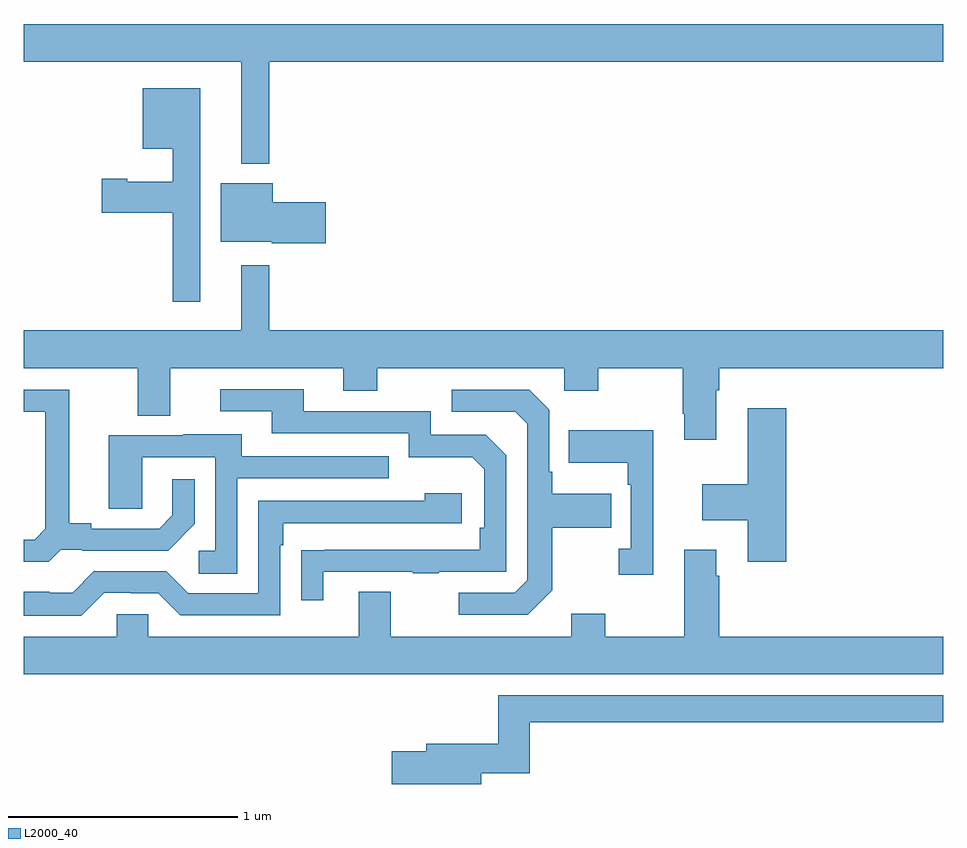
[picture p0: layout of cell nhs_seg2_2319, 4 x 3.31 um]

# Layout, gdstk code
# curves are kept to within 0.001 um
import gdstk
lib = gdstk.Library(unit=1e-6, precision=1e-09)
def P(c, l, *ps):  # polygons
    for p in ps: c.add(gdstk.Polygon(p, *l))
L2000_40 = (2000, 40)

nhs_seg2_2319 = lib.new_cell('nhs_seg2_2319')
P(nhs_seg2_2319, L2000_40, [(232.069,660.956),(235,660.956),(235,661.12),(231,661.12),(231,660.956),(231.947,660.956),(231.947,660.512),(232.069,660.512)],
  [(231.769,660.841),(231.518,660.841),(231.518,660.578),(231.648,660.578),(231.648,660.433),(231.451,660.433),(231.451,660.446),(231.339,660.446),(231.339,660.299),(231.648,660.299),(231.648,659.913),(231.769,659.913)],
  [(232.315,660.344),(232.084,660.344),(232.084,660.427),(231.857,660.427),(231.857,660.173),(232.08,660.173),(232.08,660.166),(232.315,660.166)],
  [(234.013,659.528),(234.026,659.528),(234.026,659.624),(235,659.624),(235,659.788),(232.069,659.788),(232.069,660.07),(231.947,660.07),(231.947,659.788),(231,659.788),(231,659.624),(231.497,659.624),(231.497,659.416),(231.637,659.416),(231.637,659.624),(232.391,659.624),(232.391,659.525),(232.539,659.525),(232.539,659.624),(233.352,659.624),(233.352,659.525),(233.499,659.525),(233.499,659.624),(233.866,659.624),(233.866,659.425),(233.873,659.425),(233.873,659.313),(234.013,659.313)],
  [(232.303,658.737),(232.693,658.737),(232.693,658.732),(232.805,658.732),(232.805,658.737),(233.1,658.737),(233.1,659.244),(233.01,659.334),(232.77,659.334),(232.77,659.436),(232.219,659.436),(232.219,659.532),(231.855,659.532),(231.855,659.436),(232.079,659.436),(232.079,659.34),(232.674,659.34),(232.674,659.237),(232.951,659.237),(233.004,659.184),(233.004,658.93),(232.984,658.93),(232.984,658.833),(232.207,658.832),(232.207,658.614),(232.303,658.614)],
  [(233.299,658.657),(233.299,658.93),(233.555,658.93),(233.555,659.077),(233.299,659.077),(233.299,659.173),(233.286,659.173),(233.286,659.442),(233.199,659.529),(232.863,659.529),(232.863,659.433),(233.139,659.433),(233.19,659.382),(233.19,658.701),(233.136,658.647),(232.893,658.647),(232.893,658.551),(233.193,658.551)],
  [(231.162,658.833),(231.256,658.833),(231.256,658.83),(231.628,658.83),(231.744,658.946),(231.744,659.14),(231.647,659.14),(231.647,658.983),(231.59,658.926),(231.295,658.926),(231.295,658.949),(231.199,658.949),(231.199,659.529),(231,659.529),(231,659.433),(231.095,659.433),(231.095,658.925),(231.048,658.878),(231,658.878),(231,658.781),(231.11,658.781)],
  [(234.317,659.449),(234.149,659.449),(234.149,659.119),(233.952,659.119),(233.952,658.961),(234.149,658.961),(234.149,658.782),(234.317,658.782)],
  [(233.738,659.353),(233.371,659.353),(233.371,659.213),(233.628,659.213),(233.628,659.117),(233.64,659.117),(233.64,658.838),(233.589,658.838),(233.589,658.725),(233.738,658.725)],
  [(231.93,659.145),(232.589,659.145),(232.589,659.241),(231.949,659.241),(231.949,659.335),(231.695,659.335),(231.695,659.331),(231.371,659.331),(231.371,659.011),(231.516,659.011),(231.516,659.235),(231.834,659.235),(231.834,658.83),(231.762,658.83),(231.762,658.729),(231.93,658.729)],
  [(231.351,658.647),(231.467,658.647),(231.467,658.644),(231.585,658.644),(231.681,658.548),(232.116,658.548),(232.116,658.853),(232.129,658.853),(232.129,658.95),(232.906,658.95),(232.906,659.08),(232.745,659.08),(232.745,659.046),(232.02,659.046),(232.02,658.644),(231.717,658.644),(231.621,658.74),(231.306,658.74),(231.213,658.647),(231.113,658.647),(231.113,658.651),(231,658.651),(231,658.547),(231.251,658.547)],
  [(235,658.456),(234.026,658.456),(234.026,658.721),(234.013,658.721),(234.013,658.834),(233.873,658.834),(233.873,658.456),(233.529,658.456),(233.529,658.555),(233.381,658.555),(233.381,658.456),(232.597,658.456),(232.597,658.651),(232.457,658.651),(232.457,658.456),(231.543,658.456),(231.543,658.554),(231.405,658.554),(231.405,658.456),(231,658.456),(231,658.292),(235,658.292)],
  [(232.99,657.862),(233.201,657.862),(233.201,658.084),(235,658.084),(235,658.2),(233.065,658.2),(233.065,657.991),(232.751,657.991),(232.751,657.957),(232.602,657.957),(232.602,657.815),(232.99,657.815)])

lib.write_gds('nhs_seg2_2319.gds')
